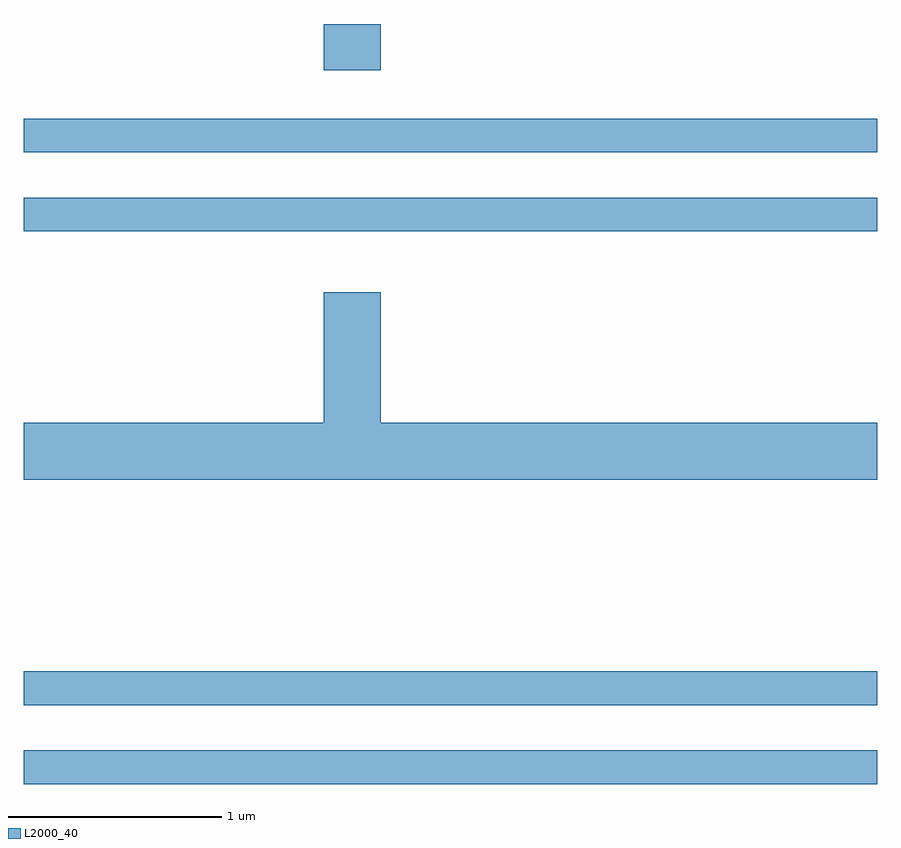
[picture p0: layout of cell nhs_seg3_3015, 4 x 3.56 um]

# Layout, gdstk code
import gdstk
lib = gdstk.Library(unit=1e-6, precision=1e-09)
def R(c, l, rs):  # rectangles x0, y0, x1, y1
    for r in rs: c.add(gdstk.rectangle(r[:2], r[2:], *l))
def P(c, l, *ps):  # polygons
    for p in ps: c.add(gdstk.Polygon(p, *l))
L2000_40 = (2000, 40)

nhs_seg3_3015 = lib.new_cell('nhs_seg3_3015')
R(nhs_seg3_3015, L2000_40, [(273.611,1162.331,277.611,1162.489), (273.611,1162.701,277.611,1162.859), (273.611,1164.921,277.611,1165.079), (273.611,1165.291,277.611,1165.449), (275.016,1165.676,275.284,1165.892)])
P(nhs_seg3_3015, L2000_40, [(277.611,1164.024),(275.284,1164.024),(275.284,1164.634),(275.016,1164.634),(275.016,1164.024),(273.611,1164.024),(273.611,1163.756),(277.611,1163.756)])

lib.write_gds('nhs_seg3_3015.gds')
